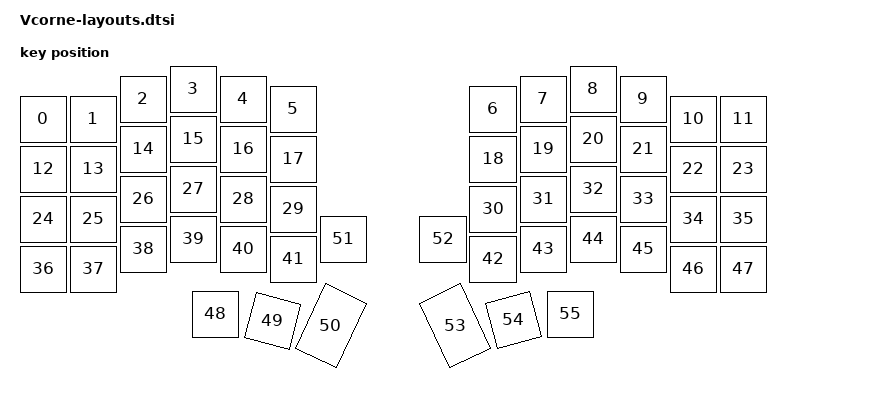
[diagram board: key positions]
#include <physical_layouts.dtsi>

/ {
    corne_layout: corne_layout {
        compatible = "zmk,physical-layout";
        display-name = "Vcorne";
        transform = <&default_transform>;
        kscan = <&kscan0>;
        keys  //                     w   h    x    y     rot    rx    ry
            = <&key_physical_attrs 100 100    0   60       0     0     0>
            , <&key_physical_attrs 100 100  100   60       0     0     0>
            , <&key_physical_attrs 100 100  200   20       0     0     0>
            , <&key_physical_attrs 100 100  300    0       0     0     0>
            , <&key_physical_attrs 100 100  400   20       0     0     0>
            , <&key_physical_attrs 100 100  500   40       0     0     0>
            , <&key_physical_attrs 100 100  900   40       0     0     0>
            , <&key_physical_attrs 100 100 1000   20       0     0     0>
            , <&key_physical_attrs 100 100 1100    0       0     0     0>
            , <&key_physical_attrs 100 100 1200   20       0     0     0>
            , <&key_physical_attrs 100 100 1300   60       0     0     0>
            , <&key_physical_attrs 100 100 1400   60       0     0     0>

            , <&key_physical_attrs 100 100    0  160       0     0     0>
            , <&key_physical_attrs 100 100  100  160       0     0     0>
            , <&key_physical_attrs 100 100  200  120       0     0     0>
            , <&key_physical_attrs 100 100  300  100       0     0     0>
            , <&key_physical_attrs 100 100  400  120       0     0     0>
            , <&key_physical_attrs 100 100  500  140       0     0     0>
            , <&key_physical_attrs 100 100  900  140       0     0     0>
            , <&key_physical_attrs 100 100 1000  120       0     0     0>
            , <&key_physical_attrs 100 100 1100  100       0     0     0>
            , <&key_physical_attrs 100 100 1200  120       0     0     0>
            , <&key_physical_attrs 100 100 1300  160       0     0     0>
            , <&key_physical_attrs 100 100 1400  160       0     0     0>

            , <&key_physical_attrs 100 100    0  260       0     0     0>
            , <&key_physical_attrs 100 100  100  260       0     0     0>
            , <&key_physical_attrs 100 100  200  220       0     0     0>
            , <&key_physical_attrs 100 100  300  200       0     0     0>
            , <&key_physical_attrs 100 100  400  220       0     0     0>
            , <&key_physical_attrs 100 100  500  240       0     0     0>
            , <&key_physical_attrs 100 100  900  240       0     0     0>
            , <&key_physical_attrs 100 100 1000  220       0     0     0>
            , <&key_physical_attrs 100 100 1100  200       0     0     0>
            , <&key_physical_attrs 100 100 1200  220       0     0     0>
            , <&key_physical_attrs 100 100 1300  260       0     0     0>
            , <&key_physical_attrs 100 100 1400  260       0     0     0>

            , <&key_physical_attrs 100 100    0  360       0     0     0>
            , <&key_physical_attrs 100 100  100  360       0     0     0>
            , <&key_physical_attrs 100 100  200  320       0     0     0>
            , <&key_physical_attrs 100 100  300  300       0     0     0>
            , <&key_physical_attrs 100 100  400  320       0     0     0>
            , <&key_physical_attrs 100 100  500  340       0     0     0>
            , <&key_physical_attrs 100 100  900  340       0     0     0>
            , <&key_physical_attrs 100 100 1000  320       0     0     0>
            , <&key_physical_attrs 100 100 1100  300       0     0     0>
            , <&key_physical_attrs 100 100 1200  320       0     0     0>
            , <&key_physical_attrs 100 100 1300  360       0     0     0>
            , <&key_physical_attrs 100 100 1400  360       0     0     0>
            
            , <&key_physical_attrs 100 100  345  450       0     0     0>
            , <&key_physical_attrs 100 100  445  475    1500   545   575>
            , <&key_physical_attrs 100 150  570  425    2500   570   525>
            , <&key_physical_attrs 100 100  600  300       0     0     0>
            , <&key_physical_attrs 100 100  800  300       0     0     0>
            , <&key_physical_attrs 100 150  830  425 (-2500)   930   525>
            , <&key_physical_attrs 100 100  953  500 (-1500)   853   575>
            , <&key_physical_attrs 100 100 1055  450       0     0     0>
            ;

            
    };
};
